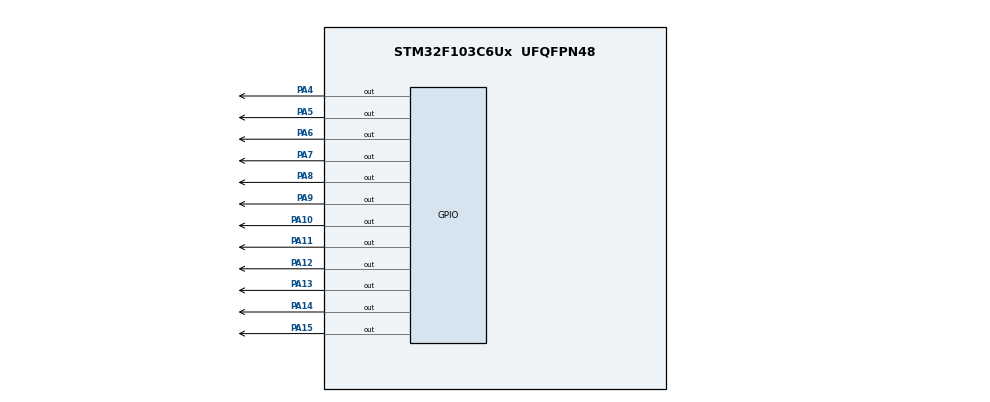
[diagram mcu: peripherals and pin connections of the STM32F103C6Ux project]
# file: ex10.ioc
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Mcu.Family=STM32F1
Mcu.Name=STM32F103C6Ux
Mcu.Package=UFQFPN48
NVIC.PriorityGroup=NVIC_PRIORITYGROUP_4
PA10.Signal=GPIO_Output
PA11.Signal=GPIO_Output
PA12.Signal=GPIO_Output
PA13.Signal=GPIO_Output
PA14.Signal=GPIO_Output
PA15.Signal=GPIO_Output
PA4.Signal=GPIO_Output
PA5.Signal=GPIO_Output
PA6.Signal=GPIO_Output
PA7.Signal=GPIO_Output
PA8.Signal=GPIO_Output
PA9.Signal=GPIO_Output
ProjectManager.HeapSize=0x200
ProjectManager.StackSize=0x400
ProjectManager.TargetToolchain=STM32CubeIDE
RCC.APB1Freq_Value=8000000
RCC.APB2Freq_Value=8000000
VP_SYS_VS_ND.Mode=No_Debug
board=custom

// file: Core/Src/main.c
/* USER CODE BEGIN Header */
/**
  ******************************************************************************
  * @file           : main.c
  * @brief          : Main program body
  ******************************************************************************
  * @attention
  *
  * <h2><center>&copy; Copyright (c) 2022 STMicroelectronics.
  * All rights reserved.</center></h2>
  *
  * This software component is licensed by ST under BSD 3-Clause license,
  * the "License"; You may not use this file except in compliance with the
  * License. You may obtain a copy of the License at:
  *                        opensource.org/licenses/BSD-3-Clause
  *
  ******************************************************************************
  */
/* USER CODE END Header */
#include "main.h"

void SystemClock_Config(void);
static void MX_GPIO_Init(void);

/* USER CODE BEGIN 0 */
/*HELPER FUNCTION*/
int arr[12] ={1,1,1,1,1,1,1,1,1,1,1,1};
void state_led(){
	HAL_GPIO_WritePin(GPIOA, GPIO_PIN_4, arr[0]);
	HAL_GPIO_WritePin(GPIOA, GPIO_PIN_5, arr[1]);
	HAL_GPIO_WritePin(GPIOA, GPIO_PIN_6, arr[2]);
	HAL_GPIO_WritePin(GPIOA, GPIO_PIN_7, arr[3]);
	HAL_GPIO_WritePin(GPIOA, GPIO_PIN_8, arr[4]);
	HAL_GPIO_WritePin(GPIOA, GPIO_PIN_9, arr[5]);
	HAL_GPIO_WritePin(GPIOA, GPIO_PIN_10, arr[6]);
	HAL_GPIO_WritePin(GPIOA, GPIO_PIN_11, arr[7]);
	HAL_GPIO_WritePin(GPIOA, GPIO_PIN_12, arr[8]);
	HAL_GPIO_WritePin(GPIOA, GPIO_PIN_13, arr[9]);
	HAL_GPIO_WritePin(GPIOA, GPIO_PIN_14, arr[10]);
	HAL_GPIO_WritePin(GPIOA, GPIO_PIN_15, arr[11]);
}

void clearAllClock(){
	for (int i = 0; i<12;i++){
		arr[i] = 1;
	}
}
void setNumberOnClock(int num){
	arr[num] = 0;
}

void clearNumberOnClock(int num){
	for (int i = 0 ; i<12 ; i++){
		arr[i] = 0;
	}
	arr[num] = 1;
}
/* USER CODE END 0 */

int main(void)
{

  /* MCU Configuration--------------------------------------------------------*/

  /* Reset of all peripherals, Initializes the Flash interface and the Systick. */
  HAL_Init();

  /* Configure the system clock */
  SystemClock_Config();

  /* Initialize all configured peripherals */
  MX_GPIO_Init();

  /* Infinite loop */
  /* USER CODE BEGIN WHILE */
   int hour = 0;
   int minute = 0;
   int second = 0;
   while (1)
   {
	 clearAllClock();
	 if(second == 60){
		 minute++;
		 second = 0;
	 }
	 if (minute == 60){
		 hour++;
		 minute = 0;
	 }
	 if (hour == 12){
		 hour = 0;
	 }
	 setNumberOnClock(hour);
	 setNumberOnClock(minute/5);
	 setNumberOnClock(second/5);
     state_led();
 	 HAL_Delay(1000);
 	 second++;
    /* USER CODE END WHILE */
  }
}
void SystemClock_Config(void)
{
  RCC_OscInitTypeDef RCC_OscInitStruct = {0};
  RCC_ClkInitTypeDef RCC_ClkInitStruct = {0};

  /** Initializes the RCC Oscillators according to the specified parameters
  * in the RCC_OscInitTypeDef structure.
  */
  RCC_OscInitStruct.OscillatorType = RCC_OSCILLATORTYPE_HSI;
  RCC_OscInitStruct.HSIState = RCC_HSI_ON;
  RCC_OscInitStruct.HSICalibrationValue = RCC_HSICALIBRATION_DEFAULT;
  RCC_OscInitStruct.PLL.PLLState = RCC_PLL_NONE;
  if (HAL_RCC_OscConfig(&RCC_OscInitStruct) != HAL_OK)
  {
    Error_Handler();
  }
  /** Initializes the CPU, AHB and APB buses clocks
  */
  RCC_ClkInitStruct.ClockType = RCC_CLOCKTYPE_HCLK|RCC_CLOCKTYPE_SYSCLK
                              |RCC_CLOCKTYPE_PCLK1|RCC_CLOCKTYPE_PCLK2;
  RCC_ClkInitStruct.SYSCLKSource = RCC_SYSCLKSOURCE_HSI;
  RCC_ClkInitStruct.AHBCLKDivider = RCC_SYSCLK_DIV1;
  RCC_ClkInitStruct.APB1CLKDivider = RCC_HCLK_DIV1;
  RCC_ClkInitStruct.APB2CLKDivider = RCC_HCLK_DIV1;

  if (HAL_RCC_ClockConfig(&RCC_ClkInitStruct, FLASH_LATENCY_0) != HAL_OK)
  {
    Error_Handler();
  }
}

static void MX_GPIO_Init(void)
{
  GPIO_InitTypeDef GPIO_InitStruct = {0};

  /* GPIO Ports Clock Enable */
  __HAL_RCC_GPIOA_CLK_ENABLE();

  /*Configure GPIO pin Output Level */
  HAL_GPIO_WritePin(GPIOA, GPIO_PIN_4|GPIO_PIN_5|GPIO_PIN_6|GPIO_PIN_7
                          |GPIO_PIN_8|GPIO_PIN_9|GPIO_PIN_10|GPIO_PIN_11
                          |GPIO_PIN_12|GPIO_PIN_13|GPIO_PIN_14|GPIO_PIN_15, GPIO_PIN_RESET);

  /*Configure GPIO pins : PA4 PA5 PA6 PA7
                           PA8 PA9 PA10 PA11
                           PA12 PA13 PA14 PA15 */
  GPIO_InitStruct.Pin = GPIO_PIN_4|GPIO_PIN_5|GPIO_PIN_6|GPIO_PIN_7
                          |GPIO_PIN_8|GPIO_PIN_9|GPIO_PIN_10|GPIO_PIN_11
                          |GPIO_PIN_12|GPIO_PIN_13|GPIO_PIN_14|GPIO_PIN_15;
  GPIO_InitStruct.Mode = GPIO_MODE_OUTPUT_PP;
  GPIO_InitStruct.Pull = GPIO_NOPULL;
  GPIO_InitStruct.Speed = GPIO_SPEED_FREQ_LOW;
  HAL_GPIO_Init(GPIOA, &GPIO_InitStruct);

}

void Error_Handler(void)
{
  __disable_irq();
  while (1)
  {
  }
}

/************************ (C) COPYRIGHT STMicroelectronics *****END OF FILE****/
